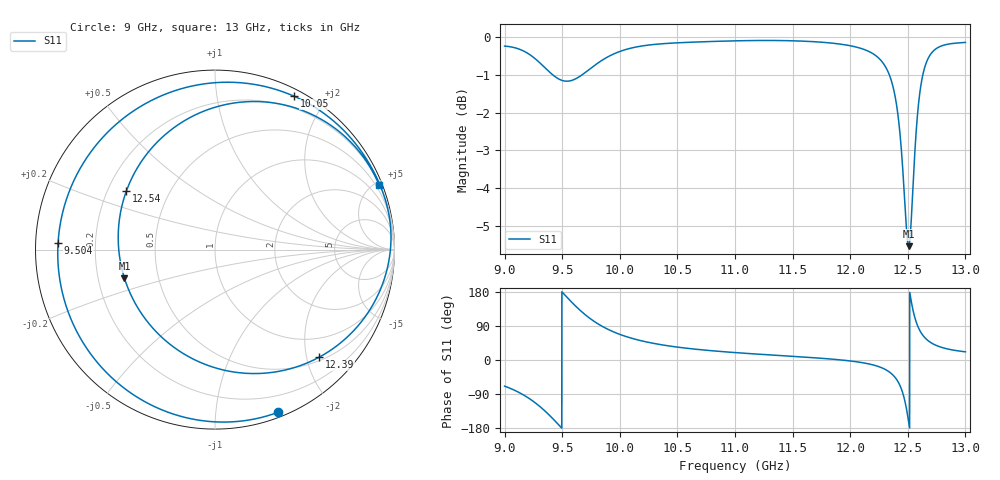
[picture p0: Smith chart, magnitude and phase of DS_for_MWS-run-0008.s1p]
! TOUCHSTONE file generated by CST DESIGN STUDIO
! Date and time: Tue Feb  4 16:25:46 2025
! Project name: C:\Work\MatlabApps\UnitCellOptimizationMatlab\CST\unitcell.cst
! Tree item: Tasks\Sweep1\SPara1\S-Parameters
! Header version: 2024
! Port assignment regex: !\s*Touchstone port\s*([0-9]+)\s*=\s*(CST MWS port|CST DES external port|CST DES block port)\s*(.+)\s* \(\"(.*)\"\)(\s*mode\s*([0-9]+))?.*
! Touchstone port assignment:
! Touchstone port 1 = CST DES external port 1 ("")
# GHz S MA R 50
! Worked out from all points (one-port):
!   4001 points, 9 GHz to 13 GHz, reference 50 ohm
!   lowest |S11| = -5.5 dB at 12.51 GHz (marker M1), VSWR 3.25, Z = 15.7 - j7 ohm
!   |S11| at or under -10 dB: nowhere
!   S11 on the Smith chart (normalised r, x): 9 GHz: 0.04, -1.45; 9.504 GHz: 0.07, +0.02; 10.05 GHz: 0.07, +1.64; 12.39 GHz: 0.57, -2.23; 12.54 GHz: 0.28, +0.28; 13 GHz: 0.25, +5.23
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9  0.972 -69.0
9.159  0.9585 -91.3
9.273  0.9333 -114.6
9.403  0.8947 -150.0
9.5  0.8756 179.0
9.504  0.8752 177.7
9.621  0.8807 140.9
9.724  0.9028 113.6
9.841  0.93 89.9
10  0.9563 67.6
10.046  0.9614 62.7
10.5  0.9818 34.0
11  0.9877 19.6
11.5  0.9878 9.7
12  0.9731 -2.5
12.267  0.9306 -19.7
12.39  0.834 -46.0
12.455  0.6731 -85.8
12.478  0.5901 -112.9
12.5  0.5336 -149.2
12.507  0.5291 -162.4
12.535  0.5914 146.7
12.562  0.7074 111.0
12.591  0.8094 86.1
12.636  0.8982 63.1
12.69  0.9443 47.9
12.803  0.9738 32.4
13  0.9828 21.6
